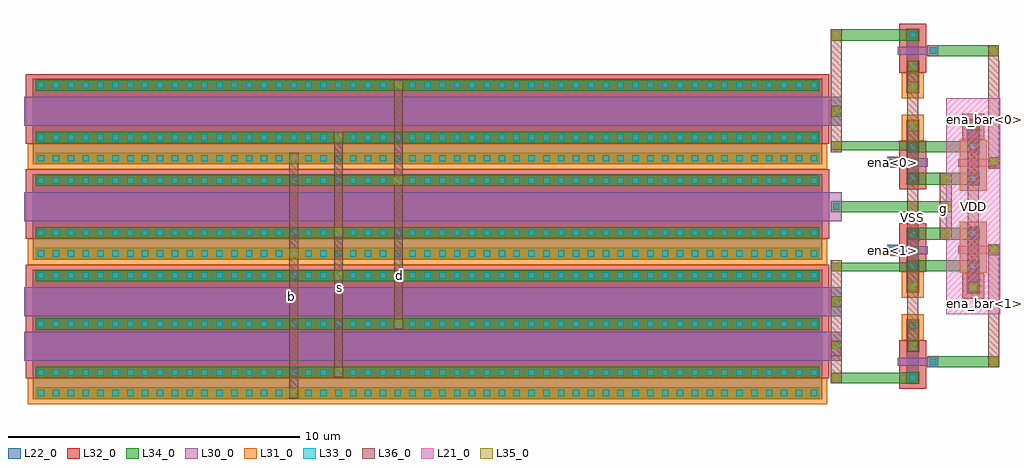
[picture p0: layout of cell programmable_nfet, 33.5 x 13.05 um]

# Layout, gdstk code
from math import pi, radians
import gdstk
lib = gdstk.Library(unit=1e-6, precision=5e-09)
def R(c, l, rs):  # rectangles x0, y0, x1, y1
    for r in rs: c.add(gdstk.rectangle(r[:2], r[2:], *l))
def A(c, l, x, y, w, h, nx, ny, dx, dy):  # array of equal rectangles
    R(c, l, [(x+i*dx, y+j*dy, x+i*dx+w, y+j*dy+h) for i in range(nx) for j in range(ny)])
L21_0 = (21, 0)
L22_0 = (22, 0)
L30_0 = (30, 0)
L31_0 = (31, 0)
L32_0 = (32, 0)
L33_0 = (33, 0)
L34_0 = (34, 0)
L35_0 = (35, 0)
L36_0 = (36, 0)

nfet_1 = lib.new_cell('nfet$1')
R(nfet_1, L22_0, [(-0.42,0,0,27.1), (0,0,1.38,27.1), (1.38,0,1.8,27.1), (1.8,0,2.51,27.1)])
R(nfet_1, L30_0, [(0.19,-0.3,1.19,27.4), (0.19,27.4,1.19,27.76)])
R(nfet_1, L31_0, [(1.8,-0.17,2.68,27.27)])
R(nfet_1, L32_0, [(-0.59,-0.24,1.8,27.34)])
A(nfet_1, L33_0, -0.32, 0.18, 0.22, 0.22, 1, 53, 0, 0.51)
A(nfet_1, L33_0, 1.48, 0.18, 0.22, 0.22, 1, 53, 0, 0.51)
A(nfet_1, L33_0, 2.19, 0.18, 0.22, 0.22, 1, 53, 0, 0.51)
R(nfet_1, L33_0, [(0.58,27.47,0.8,27.69)])
R(nfet_1, L34_0, [(-0.4,0.1,-0.02,27), (1.4,0.1,1.78,27), (2.11,0.1,2.49,27), (0.5,27.39,0.88,27.77)])

nfet = lib.new_cell('nfet')
R(nfet, L22_0, [(-0.42,-0.01,0,0.43), (0.66,-0.01,1.08,0.43), (1.08,-0.01,1.79,0.43), (0,0,0.66,0.42)])
R(nfet, L30_0, [(0.19,-0.3,0.47,0.72), (0.15,0.72,0.51,1.08)])
R(nfet, L31_0, [(1.08,-0.17,1.96,0.59)])
R(nfet, L32_0, [(-0.59,-0.25,1.08,0.67)])
R(nfet, L33_0, [(-0.32,0.1,-0.1,0.32), (0.76,0.1,0.98,0.32), (1.47,0.1,1.69,0.32), (0.22,0.79,0.44,1.01)])
R(nfet, L34_0, [(-0.4,0.02,-0.02,0.4), (0.68,0.02,1.06,0.4), (1.39,0.02,1.77,0.4), (0.14,0.71,0.52,1.09)])

pfet = lib.new_cell('pfet')

pfet_1 = lib.new_cell('pfet$1')
R(pfet_1, L21_0, [(-1.16,-0.71,2.55,1.13)])
R(pfet_1, L22_0, [(-0.46,-0.01,0,0.43), (0.66,-0.01,1.12,0.43), (1.12,-0.01,1.85,0.43), (0,0,0.66,0.42)])
R(pfet_1, L30_0, [(0.19,-0.3,0.47,0.72), (0.14,0.72,0.52,1.1)])
R(pfet_1, L31_0, [(-0.63,-0.25,1.12,0.67)])
R(pfet_1, L32_0, [(1.12,-0.17,2.02,0.59)])
R(pfet_1, L33_0, [(-0.34,0.1,-0.12,0.32), (0.78,0.1,1,0.32), (1.51,0.1,1.73,0.32), (0.22,0.8,0.44,1.02)])
R(pfet_1, L34_0, [(-0.42,0.02,-0.04,0.4), (0.7,0.02,1.08,0.4), (1.43,0.02,1.81,0.4), (0.14,0.72,0.52,1.1)])

transmission_gate = lib.new_cell('transmission_gate')
R(transmission_gate, L34_0, [(-1.54,-0.6,0.915,-0.225), (-1.54,0.48,0.915,0.895)])
transmission_gate.add(gdstk.Reference(nfet, (0.515,0.46), rotation=3*pi/2))
transmission_gate.add(gdstk.Reference(pfet, (-1.075,0.09), rotation=3*pi/2))
transmission_gate.add(gdstk.Reference(pfet, (-0.98,0.115), rotation=3*pi/2))
transmission_gate.add(gdstk.Reference(pfet, (-0.925,-0.105), rotation=3*pi/2))
transmission_gate.add(gdstk.Reference(pfet, (-1.045,0.115), rotation=3*pi/2))
transmission_gate.add(gdstk.Reference(pfet, (-3.895,0.255), rotation=3*pi/2))
transmission_gate.add(gdstk.Reference(pfet, (-4.225,0.69), rotation=3*pi/2))
transmission_gate.add(gdstk.Reference(pfet, (-3.75,0.445), rotation=3*pi/2))
transmission_gate.add(gdstk.Reference(pfet, (-4.065,-0.635), rotation=3*pi/2))
transmission_gate.add(gdstk.Reference(pfet, (-4.08,-0.7), rotation=3*pi/2))
transmission_gate.add(gdstk.Reference(pfet, (-4.065,-0.57), rotation=3*pi/2))
transmission_gate.add(gdstk.Reference(pfet, (-1.45,0.065), rotation=3*pi/2))
transmission_gate.add(gdstk.Reference(pfet, (-1.48,0.125), rotation=3*pi/2))
transmission_gate.add(gdstk.Reference(pfet, (-1.645,0.065), rotation=3*pi/2))
transmission_gate.add(gdstk.Reference(pfet, (-0.11,-0.01), rotation=3*pi/2))
transmission_gate.add(gdstk.Reference(pfet, (-0.335,0.205), rotation=3*pi/2))
transmission_gate.add(gdstk.Reference(pfet, (-1.17,0.295), rotation=3*pi/2))
transmission_gate.add(gdstk.Reference(pfet_1, (-1.14,0.475), rotation=3*pi/2, x_reflection=True))
transmission_gate.add(gdstk.Label('in', (-0.32,0.68), layer=34, texttype=10))
transmission_gate.add(gdstk.Label('out', (-0.345,-0.395), layer=34, texttype=10))
transmission_gate.add(gdstk.Label('VDD', (-1.36,-1.17), layer=34, texttype=10))
transmission_gate.add(gdstk.Label('VSS', (0.72,-1.135), layer=34, texttype=10))
transmission_gate.add(gdstk.Label('ena_bar', (-2.055,0.15), layer=34, texttype=10))
transmission_gate.add(gdstk.Label('ena', (1.385,0.1), layer=34, texttype=10))

nfet_7 = lib.new_cell('nfet$7')
R(nfet_7, L22_0, [(-0.42,0,0,27.1), (0,0,2.9,27.1), (2.9,0,3.32,27.1), (3.32,0,4.03,27.1)])
R(nfet_7, L30_0, [(0.19,-0.3,1.19,27.4), (1.71,-0.3,2.71,27.4), (0.19,27.4,1.19,27.76), (1.71,27.4,2.71,27.76)])
R(nfet_7, L31_0, [(3.32,-0.17,4.2,27.27)])
R(nfet_7, L32_0, [(-0.59,-0.24,3.32,27.34)])
A(nfet_7, L33_0, -0.32, 0.18, 0.22, 0.22, 3, 53, 1.66, 0.51)
A(nfet_7, L33_0, 3.71, 0.18, 0.22, 0.22, 1, 53, 0, 0.51)
R(nfet_7, L33_0, [(0.58,27.47,0.8,27.69), (2.1,27.47,2.32,27.69)])
A(nfet_7, L34_0, -0.4, 0.1, 0.38, 26.9, 3, 1, 1.66, 0)
R(nfet_7, L34_0, [(3.63,0.1,4.01,27), (0.5,27.39,0.88,27.77), (2.02,27.39,2.4,27.77)])

nfet_4 = lib.new_cell('nfet$4')
R(nfet_4, L22_0, [(-0.42,-0.01,0,0.43), (0.66,-0.01,1.08,0.43), (1.08,-0.01,1.79,0.43), (0,0,0.66,0.42)])
R(nfet_4, L30_0, [(0.15,-0.66,0.51,-0.3), (0.19,-0.3,0.47,0.72)])
R(nfet_4, L31_0, [(1.08,-0.17,1.96,0.59)])
R(nfet_4, L32_0, [(-0.59,-0.25,1.08,0.67)])
R(nfet_4, L33_0, [(0.22,-0.59,0.44,-0.37), (-0.32,0.1,-0.1,0.32), (0.76,0.1,0.98,0.32), (1.47,0.1,1.69,0.32)])
R(nfet_4, L34_0, [(0.14,-0.67,0.52,-0.29), (-0.4,0.02,-0.02,0.4), (0.68,0.02,1.06,0.4), (1.39,0.02,1.77,0.4)])

nfet_5 = lib.new_cell('nfet$5')
R(nfet_5, L22_0, [(-0.42,-0.01,0,0.43), (0.66,-0.01,1.08,0.43), (1.08,-0.01,1.79,0.43), (0,0,0.66,0.42)])
R(nfet_5, L30_0, [(0.19,-0.3,0.47,0.72), (0.15,0.72,0.51,1.08)])
R(nfet_5, L31_0, [(1.08,-0.17,1.96,0.59)])
R(nfet_5, L32_0, [(-0.59,-0.25,1.08,0.67)])
R(nfet_5, L33_0, [(-0.32,0.1,-0.1,0.32), (0.76,0.1,0.98,0.32), (1.47,0.1,1.69,0.32), (0.22,0.79,0.44,1.01)])
R(nfet_5, L34_0, [(-0.4,0.02,-0.02,0.4), (0.68,0.02,1.06,0.4), (1.39,0.02,1.77,0.4), (0.14,0.71,0.52,1.09)])

programmable_nfet = lib.new_cell('programmable_nfet')
R(programmable_nfet, L34_0, [(27.26,-6.635,30.265,-6.285), (30.575,-6.095,33.04,-5.715), (27.26,-5.71,27.63,-5.555), (27.63,-5.71,27.64,-5.555), (27.26,-2.795,29.885,-2.495), (27.26,-0.765,31.415,-0.385), (27.26,1.36,29.885,1.66), (30.565,4.585,33.03,4.965), (27.26,5.125,29.885,5.505)])
R(programmable_nfet, L35_0, [(8.695,-7.105,8.955,-6.845), (27.315,-6.595,27.575,-6.335), (10.235,-6.385,10.495,-6.125), (32.725,-6.025,32.985,-5.765), (29.94,-5.5,30.2,-5.24), (27.32,-5.475,27.58,-5.215), (12.29,-4.735,12.55,-4.475), (27.32,-3.98,27.58,-3.72), (32.015,-3.48,32.275,-3.22), (29.94,-3.45,30.2,-3.19), (10.235,-3.07,10.495,-2.81), (27.355,-2.775,27.615,-2.515), (8.7,-2.305,8.96,-2.045), (32.72,-2.185,32.98,-1.925), (31.06,-1.64,31.32,-1.38), (10.24,-1.585,10.5,-1.325), (31.055,-0.72,31.315,-0.46), (12.285,0.19,12.545,0.45), (31.09,0.25,31.35,0.51), (32.72,0.835,32.98,1.095), (8.7,0.95,8.96,1.21), (27.365,1.385,27.625,1.645), (10.24,1.67,10.5,1.93), (29.94,2.065,30.2,2.325), (32.02,2.085,32.28,2.345), (27.32,2.565,27.58,2.825), (29.945,3.39,30.205,3.65), (12.295,3.445,12.555,3.705), (29.94,4.1,30.2,4.36), (32.71,4.645,32.97,4.905), (27.315,5.18,27.575,5.44)])
R(programmable_nfet, L36_0, [(8.675,-7.165,8.975,1.275), (27.26,-6.635,27.64,-6.06), (10.215,-6.445,10.515,1.995), (32.66,-6.095,33.04,-5.575), (27.26,-6.06,27.64,-2.42), (32.66,-5.575,33.04,-1.865), (29.885,-5.555,30.265,-4.98), (29.885,-4.98,30.265,3.85), (12.27,-4.795,12.57,3.785), (31.96,-3.535,32.34,2.405), (31,-1.72,31.415,0.59), (32.66,0.725,33.04,4.435), (27.26,1.29,27.64,4.93), (29.885,3.45,30.265,3.85), (29.885,3.85,30.265,4.425), (32.66,4.435,33.03,4.965), (27.26,4.93,27.64,5.505)])
programmable_nfet.add(gdstk.Reference(nfet_1, (-0.13,0.115), rotation=3*pi/2))
programmable_nfet.add(gdstk.Reference(nfet_1, (-0.13,3.385), rotation=3*pi/2))
programmable_nfet.add(gdstk.Reference(transmission_gate, (30.8,-2.2), rotation=pi, x_reflection=True))
programmable_nfet.add(gdstk.Reference(nfet_7, (-0.13,-3.155), rotation=3*pi/2))
programmable_nfet.add(gdstk.Reference(transmission_gate, (30.8,1.07), rotation=pi))
programmable_nfet.add(gdstk.Reference(nfet_4, (30.285,-6.235), rotation=pi/2))
programmable_nfet.add(gdstk.Reference(nfet_5, (29.865,5.105), rotation=3*pi/2))
programmable_nfet.add(gdstk.Label('ena<0>', (29.37,0.94), layer=34, texttype=10))
programmable_nfet.add(gdstk.Label('ena<1>', (29.38,-2.085), layer=34, texttype=10))
programmable_nfet.add(gdstk.Label('b', (8.765,-3.645), layer=36, texttype=10))
programmable_nfet.add(gdstk.Label('s', (10.4,-3.345), layer=36, texttype=10))
programmable_nfet.add(gdstk.Label('d', (12.445,-2.93), layer=36, texttype=10))
programmable_nfet.add(gdstk.Label('VDD', (32.16,-0.565), layer=36, texttype=10))
programmable_nfet.add(gdstk.Label('VSS', (30.06,-0.955), layer=36, texttype=10))
programmable_nfet.add(gdstk.Label('ena_bar<1>', (32.885,-3.9), layer=36, texttype=10))
programmable_nfet.add(gdstk.Label('ena_bar<0>', (32.815,2.4), layer=36, texttype=10))
programmable_nfet.add(gdstk.Label('g', (31.13,-0.64), layer=36, texttype=10))

lib.write_gds('programmable_nfet.gds')
